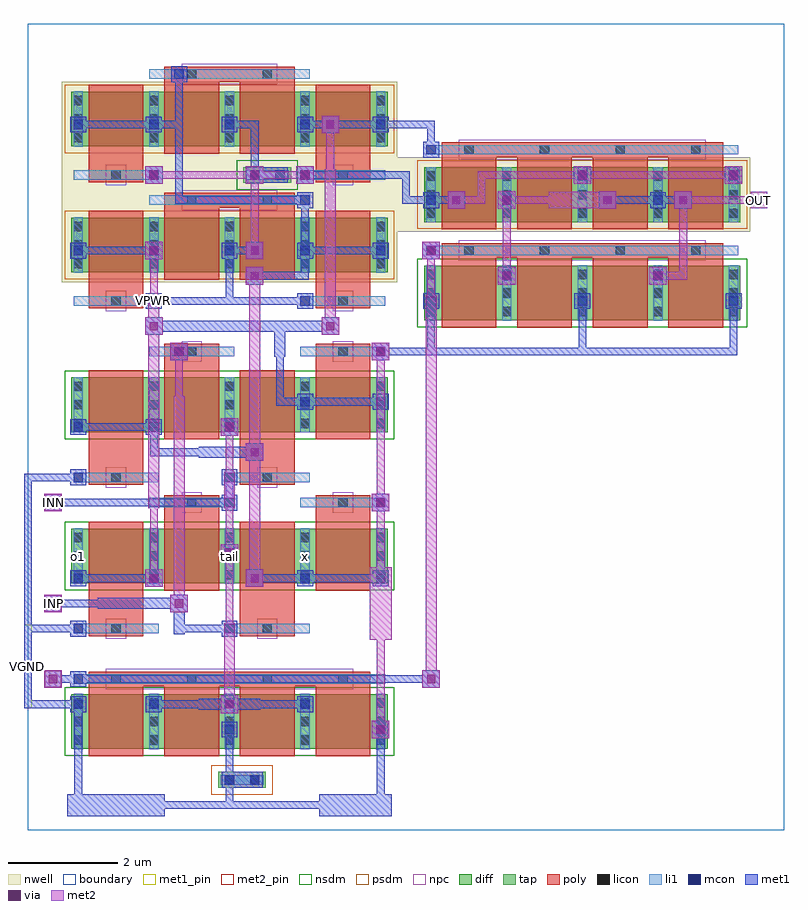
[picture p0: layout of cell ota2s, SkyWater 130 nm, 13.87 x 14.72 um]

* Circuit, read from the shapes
.subckt ota2s INN INP OUT VBN VGND VPWR o1 tail x
XM1 tail VBN VGND VGND sky130_fd_pr__nfet_01v8 w=1 l=1 m=4
XM2 o1 VGND o1 VGND sky130_fd_pr__nfet_01v8 w=1 l=1 m=2
XM3 x VGND x VGND sky130_fd_pr__nfet_01v8 w=1 l=1 m=2
XM4 tail INN o1 VGND sky130_fd_pr__nfet_01v8 w=1 l=1 m=2
XM5 tail INP x VGND sky130_fd_pr__nfet_01v8 w=1 l=1 m=2
XM6 OUT VBN VGND VGND sky130_fd_pr__nfet_01v8 w=1 l=1 m=4
XM7 o1 VPWR o1 VPWR sky130_fd_pr__pfet_01v8 w=1 l=1 m=2
XM8 x VPWR x VPWR sky130_fd_pr__pfet_01v8 w=1 l=1 m=2
XM9 VPWR x o1 VPWR sky130_fd_pr__pfet_01v8 w=1 l=1 m=2
XM10 VPWR x x VPWR sky130_fd_pr__pfet_01v8 w=1 l=1 m=2
XM11 OUT o1 VPWR VPWR sky130_fd_pr__pfet_01v8 w=1 l=1 m=4
.ends

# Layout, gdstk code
import gdstk
lib = gdstk.Library(unit=1e-6, precision=1e-09)
def R(c, l, rs):  # rectangles x0, y0, x1, y1
    for r in rs: c.add(gdstk.rectangle(r[:2], r[2:], *l))
def A(c, l, x, y, w, h, nx, ny, dx, dy):  # array of equal rectangles
    R(c, l, [(x+i*dx, y+j*dy, x+i*dx+w, y+j*dy+h) for i in range(nx) for j in range(ny)])
nwell = (64, 20)
diff = (65, 20)
tap = (65, 44)
poly = (66, 20)
licon = (66, 44)
li1 = (67, 20)
mcon = (67, 44)
met1_pin = (68, 16)
met1 = (68, 20)
via = (68, 44)
met2_pin = (69, 16)
met2 = (69, 20)
nsdm = (93, 44)
psdm = (94, 20)
npc = (95, 20)
boundary = (235, 4)

ota2s = lib.new_cell('ota2s')
R(ota2s, nwell, [(0.615,10,6.745,10.92), (0.615,10.92,13.185,12.28), (0.615,12.28,6.745,13.66)])
R(ota2s, diff, [(0.795,1.485,6.565,2.485), (0.795,4.505,6.565,5.505), (0.795,7.265,6.565,8.265), (7.235,9.305,13.005,10.305), (0.795,10.18,6.565,11.18), (7.235,11.1,13.005,12.1), (0.795,12.48,6.565,13.48)])
R(ota2s, tap, [(3.475,0.775,4.345,1.065), (3.935,11.815,4.805,12.105)])
A(ota2s, poly, 1.11, 1.355, 1, 1.405, 4, 1, 1.38, 0)
A(ota2s, poly, 7.55, 9.175, 1, 1.405, 4, 1, 1.38, 0)
A(ota2s, poly, 7.55, 10.97, 1, 1.45, 4, 1, 1.38, 0)
R(ota2s, poly, [(1.11,2.625,6.25,2.895), (1.11,3.545,2.11,3.815), (3.87,3.545,4.87,3.815), (1.11,3.68,2.11,5.635), (3.87,3.68,4.87,5.635), (2.49,4.375,3.49,5.98), (5.25,4.375,6.25,5.98), (2.49,5.845,3.49,6.115), (5.25,5.845,6.25,6.115), (1.11,6.305,2.11,6.575), (3.87,6.305,4.87,6.575), (1.11,6.44,2.11,8.395), (3.87,6.44,4.87,8.395), (2.49,7.135,3.49,8.74), (5.25,7.135,6.25,8.74), (2.49,8.605,3.49,8.875), (5.25,8.605,6.25,8.875), (1.11,9.525,2.11,9.795), (5.25,9.525,6.25,9.795), (1.11,9.66,2.11,11.31), (5.25,9.66,6.25,11.31), (2.49,10.05,3.49,11.5), (3.87,10.05,4.87,11.5), (7.55,10.445,12.69,10.715), (2.49,11.365,4.87,11.635), (1.11,11.825,2.11,12.095), (5.25,11.825,6.25,12.095), (1.11,11.96,2.11,13.61), (5.25,11.96,6.25,13.61), (7.55,12.285,12.69,12.555), (2.49,12.35,3.49,13.8), (3.87,12.35,4.87,13.8), (2.49,13.665,4.87,13.935)])
A(ota2s, licon, 0.835, 1.56, 0.17, 0.17, 5, 3, 1.38, 0.34)
A(ota2s, licon, 1.525, 2.675, 0.17, 0.17, 4, 1, 1.38, 0)
A(ota2s, licon, 0.835, 4.58, 0.17, 0.17, 5, 3, 1.38, 0.34)
A(ota2s, licon, 2.905, 5.895, 0.17, 0.17, 1, 3, 0, 2.76)
A(ota2s, licon, 0.835, 7.34, 0.17, 0.17, 5, 3, 1.38, 0.34)
A(ota2s, licon, 7.275, 9.38, 0.17, 0.17, 5, 3, 1.38, 0.34)
A(ota2s, licon, 0.835, 10.255, 0.17, 0.17, 5, 3, 1.38, 0.34)
A(ota2s, licon, 7.965, 10.495, 0.17, 0.17, 4, 2, 1.38, 1.84)
A(ota2s, licon, 7.275, 11.175, 0.17, 0.17, 5, 3, 1.38, 0.34)
A(ota2s, licon, 0.835, 12.555, 0.17, 0.17, 5, 3, 1.38, 0.34)
R(ota2s, licon, [(3.595,0.835,3.765,1.005), (4.055,0.835,4.225,1.005), (1.525,3.595,1.695,3.765), (4.285,3.595,4.455,3.765), (5.665,5.895,5.835,6.065), (1.525,6.355,1.695,6.525), (4.285,6.355,4.455,6.525), (5.665,8.655,5.835,8.825), (1.525,9.575,1.695,9.745), (5.665,9.575,5.835,9.745), (4.285,11.415,4.455,11.585), (1.525,11.875,1.695,12.045), (4.055,11.875,4.225,12.045), (4.515,11.875,4.685,12.045), (5.665,11.875,5.835,12.045), (2.905,13.715,3.075,13.885), (4.285,13.715,4.455,13.885)])
A(ota2s, li1, 0.835, 1.48, 0.17, 1.01, 5, 2, 1.38, 3.02)
A(ota2s, li1, 0.835, 7.26, 0.17, 1.01, 5, 2, 1.38, 2.915)
A(ota2s, li1, 7.275, 9.3, 0.17, 1.01, 5, 2, 1.38, 1.795)
A(ota2s, li1, 0.835, 12.475, 0.17, 1.01, 5, 1, 1.38, 0)
R(ota2s, li1, [(3.515,0.835,4.305,1.005), (0.835,2.675,6.525,2.845), (0.835,3.595,2.385,3.765), (3.595,3.595,5.145,3.765), (2.215,5.895,3.765,6.065), (4.975,5.895,6.525,6.065), (0.835,6.355,2.385,6.525), (3.595,6.355,5.145,6.525), (2.215,8.655,3.765,8.825), (4.975,8.655,6.525,8.825), (0.835,9.575,2.385,9.745), (4.975,9.575,6.525,9.745), (7.275,10.495,12.965,10.665), (2.215,11.415,5.145,11.585), (0.835,11.875,2.385,12.045), (3.975,11.875,4.765,12.045), (4.975,11.875,6.525,12.045), (7.275,12.335,12.965,12.505), (2.215,13.715,5.145,13.885)])
A(ota2s, mcon, 0.835, 2.675, 0.17, 0.17, 1, 3, 0, 0.92)
A(ota2s, mcon, 0.835, 7.275, 0.17, 0.17, 3, 1, 1.38, 0)
A(ota2s, mcon, 4.975, 7.735, 0.17, 0.17, 1, 3, 0, 1.84)
A(ota2s, mcon, 7.275, 9.575, 0.17, 0.17, 3, 1, 2.76, 0)
A(ota2s, mcon, 0.835, 10.495, 0.17, 0.17, 5, 2, 1.38, 2.3)
A(ota2s, mcon, 7.275, 10.495, 0.17, 0.17, 1, 3, 0, 0.92)
A(ota2s, mcon, 4.055, 11.875, 0.17, 0.17, 3, 1, 0.46, 0)
R(ota2s, mcon, [(3.595,0.835,3.765,1.005), (4.055,0.835,4.225,1.005), (3.595,1.755,3.765,1.925), (6.355,1.755,6.525,1.925), (0.835,2.215,1.005,2.385), (2.215,2.215,2.385,2.385), (4.975,2.215,5.145,2.385), (3.595,3.595,3.765,3.765), (2.215,4.515,2.385,4.685), (4.975,4.515,5.145,4.685), (6.355,4.515,6.525,4.685), (3.595,4.975,3.765,5.145), (3.595,5.895,3.765,6.065), (6.355,5.895,6.525,6.065), (0.835,6.355,1.005,6.525), (3.595,6.355,3.765,6.525), (6.355,7.735,6.525,7.905), (2.675,8.655,2.845,8.825), (6.355,8.655,6.525,8.825), (2.215,9.575,2.385,9.745), (8.655,10.035,8.825,10.205), (11.415,10.035,11.585,10.205), (8.655,11.415,8.825,11.585), (11.415,11.415,11.585,11.585), (2.215,11.875,2.385,12.045), (10.035,11.875,10.205,12.045), (12.795,11.875,12.965,12.045), (2.675,13.715,2.845,13.885)])
R(ota2s, met1_pin, [(-0.07,2.23,0.07,3.75), (2.155,9.515,2.445,9.805)])
A(ota2s, met1, 0.775, 2.615, 0.29, 0.29, 1, 3, 0, 0.92)
A(ota2s, met1, 0.775, 7.215, 0.29, 0.29, 3, 1, 1.38, 0)
A(ota2s, met1, 4.915, 7.675, 0.29, 0.29, 1, 3, 0, 1.84)
A(ota2s, met1, 7.29, 8.67, 0.14, 1.06, 3, 1, 2.76, 0)
A(ota2s, met1, 2.14, 9.04, 0.32, 0.32, 1, 3, 0, 1.38)
A(ota2s, met1, 7.215, 9.515, 0.29, 0.29, 3, 1, 2.76, 0)
A(ota2s, met1, 0.775, 10.435, 0.29, 0.29, 5, 2, 1.38, 2.3)
A(ota2s, met1, 7.215, 10.435, 0.29, 0.29, 1, 3, 0, 0.92)
A(ota2s, met1, 2.23, 12.81, 0.6, 0.14, 3, 1, 1.38, 0)
R(ota2s, met1, [(0.72,0.26,2.5,0.66), (5.32,0.26,6.64,0.66), (0.85,0.39,0.99,2.37), (2.23,0.39,3.75,0.53), (3.61,0.39,5.59,0.53), (3.61,0.39,3.75,0.99), (6.37,0.39,6.51,1.91), (3.535,0.775,4.285,1.065), (3.61,0.85,3.75,1.91), (3.61,0.85,3.75,0.99), (6.28,1.68,6.6,2), (3.535,1.695,3.825,1.985), (6.295,1.695,6.585,1.985), (3.52,2.14,3.84,2.46), (0.775,2.155,1.065,2.445), (2.155,2.155,2.445,2.445), (4.915,2.155,5.205,2.445), (3.12,2.2,3.78,2.4), (3.58,2.2,4.24,2.4), (-0.07,2.23,0.07,3.75), (-0.07,2.23,0.99,2.37), (2.23,2.23,3.29,2.37), (4.07,2.23,5.13,2.37), (0.3,2.6,0.62,2.92), (7.2,2.6,7.52,2.92), (0.39,2.69,0.99,2.83), (0.85,2.69,7.43,2.83), (3.535,3.535,3.825,3.825), (2.66,3.58,2.86,4.24), (-0.07,3.61,0.99,3.75), (-0.07,3.61,0.07,6.51), (2.69,3.61,3.75,3.75), (0.3,3.98,0.62,4.3), (2.6,3.98,2.92,4.3), (1.28,4.04,2.86,4.24), (0.39,4.07,1.45,4.21), (2.14,4.44,2.46,4.76), (3.98,4.44,4.3,4.76), (2.155,4.455,2.445,4.745), (4.915,4.455,5.205,4.745), (6.295,4.455,6.585,4.745), (0.85,4.53,2.37,4.67), (4.07,4.53,5.13,4.67), (4.99,4.53,6.51,4.67), (3.52,4.9,3.84,5.22), (3.535,4.915,3.825,5.205), (0.3,5.82,0.62,6.14), (6.28,5.82,6.6,6.14), (3.535,5.835,3.825,6.125), (6.295,5.835,6.585,6.125), (0.39,5.91,3.75,6.05), (3.61,5.91,3.75,6.51), (0.775,6.295,1.065,6.585), (3.535,6.295,3.825,6.585), (-0.07,6.37,0.99,6.51), (3.98,6.74,4.3,7.06), (3.12,6.8,4.24,7), (2.23,6.83,3.29,6.97), (2.23,6.83,2.37,7.43), (3.52,7.2,3.84,7.52), (0.85,7.29,2.37,7.43), (6.295,7.675,6.585,7.965), (4.53,7.75,5.13,7.89), (4.53,7.75,4.67,8.81), (4.99,7.75,6.51,7.89), (2.6,8.58,2.92,8.9), (6.28,8.58,6.6,8.9), (2.615,8.595,2.905,8.885), (6.295,8.595,6.585,8.885), (4.5,8.64,4.7,9.3), (6.37,8.67,7.43,8.81), (7.29,8.67,10.19,8.81), (10.05,8.67,12.95,8.81), (5.36,9.04,5.68,9.36), (2.2,9.1,4.7,9.3), (4.5,9.1,5.62,9.3), (2.155,9.515,2.445,9.805), (2.23,9.59,3.75,9.73), (3.61,9.59,5.13,9.73), (3.61,9.59,3.75,10.65), (3.98,9.96,4.3,10.28), (8.58,9.96,8.9,10.28), (11.34,9.96,11.66,10.28), (8.595,9.975,8.885,10.265), (11.355,9.975,11.645,10.265), (4.07,10.05,5.13,10.19), (4.99,10.05,5.13,10.65), (3.98,10.42,4.3,10.74), (7.2,10.42,7.52,10.74), (0.85,10.51,2.37,10.65), (3.61,10.51,4.21,10.65), (4.99,10.51,6.51,10.65), (4.99,10.51,5.13,11.57), (7.66,11.34,7.98,11.66), (8.58,11.34,8.9,11.66), (10.42,11.34,10.74,11.66), (11.8,11.34,12.12,11.66), (8.595,11.355,8.885,11.645), (11.355,11.355,11.645,11.645), (2.69,11.43,2.83,12.95), (2.69,11.43,5.13,11.57), (6.83,11.43,6.97,12.03), (6.83,11.43,7.43,11.57), (7.29,11.43,7.89,11.57), (10.51,11.43,11.57,11.57), (11.43,11.43,12.03,11.57), (3.98,11.8,4.3,12.12), (4.9,11.8,5.22,12.12), (9.96,11.8,10.28,12.12), (12.72,11.8,13.04,12.12), (2.155,11.815,2.445,12.105), (3.995,11.815,4.745,12.105), (4.915,11.815,5.205,12.105), (9.975,11.815,10.265,12.105), (12.735,11.815,13.025,12.105), (4.07,11.89,4.21,12.95), (4.07,11.89,4.21,12.03), (4.99,11.89,6.97,12.03), (7.29,12.35,7.43,12.95), (5.36,12.72,5.68,13.04), (0.85,12.81,2.37,12.95), (2.69,12.81,2.83,13.87), (5.45,12.81,6.51,12.95), (6.37,12.81,7.43,12.95), (2.615,13.655,2.905,13.945)])
A(ota2s, via, 2.225, 9.125, 0.15, 0.15, 1, 3, 0, 1.38)
R(ota2s, via, [(6.365,1.765,6.515,1.915), (3.605,2.225,3.755,2.375), (0.385,2.685,0.535,2.835), (7.285,2.685,7.435,2.835), (0.385,4.065,0.535,4.215), (2.685,4.065,2.835,4.215), (2.225,4.525,2.375,4.675), (4.065,4.525,4.215,4.675), (3.605,4.985,3.755,5.135), (0.385,5.905,0.535,6.055), (6.365,5.905,6.515,6.055), (4.065,6.825,4.215,6.975), (3.605,7.285,3.755,7.435), (2.685,8.665,2.835,8.815), (6.365,8.665,6.515,8.815), (5.445,9.125,5.595,9.275), (4.065,10.045,4.215,10.195), (8.665,10.045,8.815,10.195), (11.425,10.045,11.575,10.195), (4.065,10.505,4.215,10.655), (7.285,10.505,7.435,10.655), (7.745,11.425,7.895,11.575), (8.665,11.425,8.815,11.575), (10.505,11.425,10.655,11.575), (11.885,11.425,12.035,11.575), (4.065,11.885,4.215,12.035), (4.985,11.885,5.135,12.035), (10.045,11.885,10.195,12.035), (12.805,11.885,12.955,12.035), (5.445,12.805,5.595,12.955)])
R(ota2s, met2_pin, [(0.31,2.61,0.61,2.91), (0.31,3.99,0.61,4.29), (0.31,5.83,0.61,6.13), (13.19,11.35,13.49,11.65)])
A(ota2s, met2, 2.14, 9.04, 0.32, 0.32, 1, 3, 0, 1.38)
R(ota2s, met2, [(6.28,1.68,6.6,2), (6.37,1.77,6.51,3.75), (3.52,2.14,3.84,2.46), (3.58,2.2,3.78,3.78), (0.3,2.6,0.62,2.92), (7.2,2.6,7.52,2.92), (0.31,2.61,0.61,2.91), (7.26,2.66,7.46,9.76), (0.39,2.69,0.53,2.83), (6.24,3.48,6.64,4.8), (3.61,3.61,3.75,5.13), (0.3,3.98,0.62,4.3), (2.6,3.98,2.92,4.3), (0.31,3.99,0.61,4.29), (2.66,4.04,2.86,7.92), (0.39,4.07,0.53,4.21), (2.14,4.44,2.46,4.76), (3.98,4.44,4.3,4.76), (4.04,4.5,4.24,7), (2.23,4.53,2.37,6.05), (6.37,4.53,6.51,6.05), (3.52,4.9,3.84,5.22), (3.61,4.99,3.75,6.05), (0.3,5.82,0.62,6.14), (6.28,5.82,6.6,6.14), (0.31,5.83,0.61,6.13), (2.2,5.88,2.4,9.76), (3.58,5.88,3.78,6.54), (0.39,5.91,0.53,6.05), (6.37,5.91,6.51,8.81), (3.61,6.37,3.75,7.43), (3.98,6.74,4.3,7.06), (4.04,6.8,4.24,10.22), (3.52,7.2,3.84,7.52), (2.69,7.75,2.83,8.81), (2.6,8.58,2.92,8.9), (6.28,8.58,6.6,8.9), (5.36,9.04,5.68,9.36), (5.42,9.1,5.62,12.06), (2.23,9.59,2.37,10.65), (7.29,9.59,7.43,10.65), (3.98,9.96,4.3,10.28), (8.58,9.96,8.9,10.28), (11.34,9.96,11.66,10.28), (8.67,10.05,8.81,11.57), (11.43,10.05,12.03,10.19), (11.89,10.05,12.03,11.57), (3.98,10.42,4.3,10.74), (7.2,10.42,7.52,10.74), (4.07,10.51,4.21,12.03), (7.66,11.34,7.98,11.66), (8.58,11.34,8.9,11.66), (10.42,11.34,10.74,11.66), (11.8,11.34,12.12,11.66), (9.51,11.35,10.73,11.65), (13.19,11.35,13.49,11.65), (7.75,11.43,8.35,11.57), (8.21,11.43,8.35,12.03), (8.67,11.43,9.73,11.57), (11.89,11.43,13.41,11.57), (13.27,11.43,13.41,11.57), (3.98,11.8,4.3,12.12), (4.9,11.8,5.22,12.12), (9.96,11.8,10.28,12.12), (12.72,11.8,13.04,12.12), (2.23,11.89,4.21,12.03), (4.07,11.89,5.13,12.03), (5.45,11.89,5.59,12.95), (8.21,11.89,10.19,12.03), (10.05,11.89,12.95,12.03), (5.36,12.72,5.68,13.04)])
R(ota2s, nsdm, [(0.67,1.36,6.69,2.61), (0.67,4.38,6.69,5.63), (0.67,7.14,6.69,8.39), (7.11,9.18,13.13,10.43), (3.81,11.69,4.93,12.23)])
R(ota2s, psdm, [(3.35,0.65,4.47,1.19), (0.67,10.055,6.69,11.305), (7.11,10.975,13.13,12.225), (0.67,12.355,6.69,13.605)])
R(ota2s, npc, [(1.425,2.575,5.935,2.945), (1.425,3.495,1.795,3.865), (4.185,3.495,4.555,3.865), (2.805,5.795,3.175,6.165), (5.565,5.795,5.935,6.165), (1.425,6.255,1.795,6.625), (4.185,6.255,4.555,6.625), (2.805,8.555,3.175,8.925), (5.565,8.555,5.935,8.925), (1.425,9.475,1.795,9.845), (5.565,9.475,5.935,9.845), (7.865,10.395,12.375,10.765), (2.805,11.315,4.555,11.685), (1.425,11.775,1.795,12.145), (5.565,11.775,5.935,12.145), (7.865,12.235,12.375,12.605), (2.805,13.615,4.555,13.985)])
R(ota2s, boundary, [(0,0,13.8,14.72)])
ota2s.add(gdstk.Label('o1', (0.92,5.005), layer=67, texttype=5))
ota2s.add(gdstk.Label('tail', (3.68,5.005), layer=67, texttype=5))
ota2s.add(gdstk.Label('x', (5.06,5.005), layer=67, texttype=5))
ota2s.add(gdstk.Label('VPWR', (2.3,9.66), layer=68, texttype=5))
ota2s.add(gdstk.Label('VGND', (0,2.99), layer=68, texttype=5))
ota2s.add(gdstk.Label('INP', (0.46,4.14), layer=69, texttype=5))
ota2s.add(gdstk.Label('INN', (0.46,5.98), layer=69, texttype=5))
ota2s.add(gdstk.Label('VBN', (0.46,2.76), layer=69, texttype=5))
ota2s.add(gdstk.Label('OUT', (13.34,11.5), layer=69, texttype=5))
ota2s.add(gdstk.Label('VPWR', (2.3,9.66), layer=68, texttype=16))
ota2s.add(gdstk.Label('VGND', (0,2.99), layer=68, texttype=16))
ota2s.add(gdstk.Label('INP', (0.46,4.14), layer=69, texttype=16))
ota2s.add(gdstk.Label('INN', (0.46,5.98), layer=69, texttype=16))
ota2s.add(gdstk.Label('VBN', (0.46,2.76), layer=69, texttype=16))
ota2s.add(gdstk.Label('OUT', (13.34,11.5), layer=69, texttype=16))

lib.write_gds('ota2s.gds')
